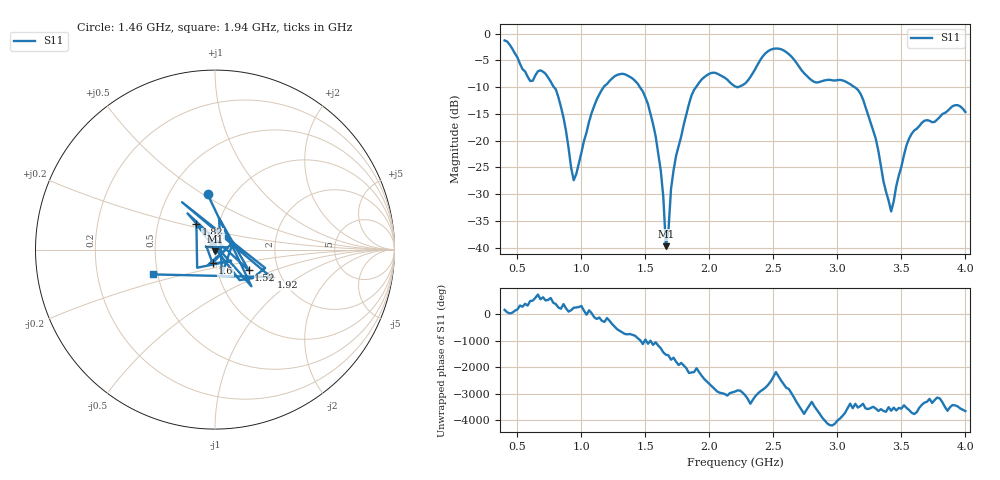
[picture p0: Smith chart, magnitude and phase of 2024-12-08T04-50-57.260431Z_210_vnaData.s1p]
!Created with skrf (http://scikit-rf.org).
# Hz S RI R 50.0
!freq ReS11 ImS11
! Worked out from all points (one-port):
!   181 points, 400 MHz to 4 GHz, reference 50 ohm
!   lowest |S11| = -39.7 dB at 1.66 GHz (marker M1), VSWR 1.02, Z = 50.1 - j1.03 ohm
!   |S11| at or under -10 dB: 785.3 MHz to 1.174 GHz (389 MHz wide, 39.7 % of centre); 1.457 GHz to 1.896 GHz (438.9 MHz wide, 26.2 % of centre); 3.134 GHz to end of sweep (the widest 3 of 4)
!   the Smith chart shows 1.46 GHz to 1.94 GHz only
!   S11 on the Smith chart (normalised r, x): 1.46 GHz: 0.76, +0.52; 1.52 GHz: 1.41, -0.34; 1.6 GHz: 0.96, -0.15; 1.82 GHz: 0.78, +0.23; 1.92 GHz: 1.77, -0.62; 1.94 GHz: 0.47, -0.15
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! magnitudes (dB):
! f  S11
! 400 MHz  -1.3
! 600 MHz  -8.9
! 720 MHz  -7.5
! 860 MHz  -15.7
! 940 MHz  -27.4
! 1.12 GHz  -12.3
! 1.3 GHz  -7.6
! 1.46 GHz  -10.1
! 1.52 GHz  -13.2
! 1.6 GHz  -22.3
! 1.64 GHz  -30.6
! 1.66 GHz  -39.7
! 1.68 GHz  -36.9
! 1.7 GHz  -29.0
! 1.76 GHz  -21.0
! 1.82 GHz  -15.1
! 1.92 GHz  -9.2
! 1.94 GHz  -8.6
! 2.2 GHz  -9.9
! 2.48 GHz  -3.0
! 2.66 GHz  -4.8
! 2.82 GHz  -9.0
! 3.1 GHz  -9.5
! 3.28 GHz  -18.1
! 3.42 GHz  -33.2
! 3.56 GHz  -19.6
! 3.9 GHz  -13.6
! 4 GHz  -14.7
